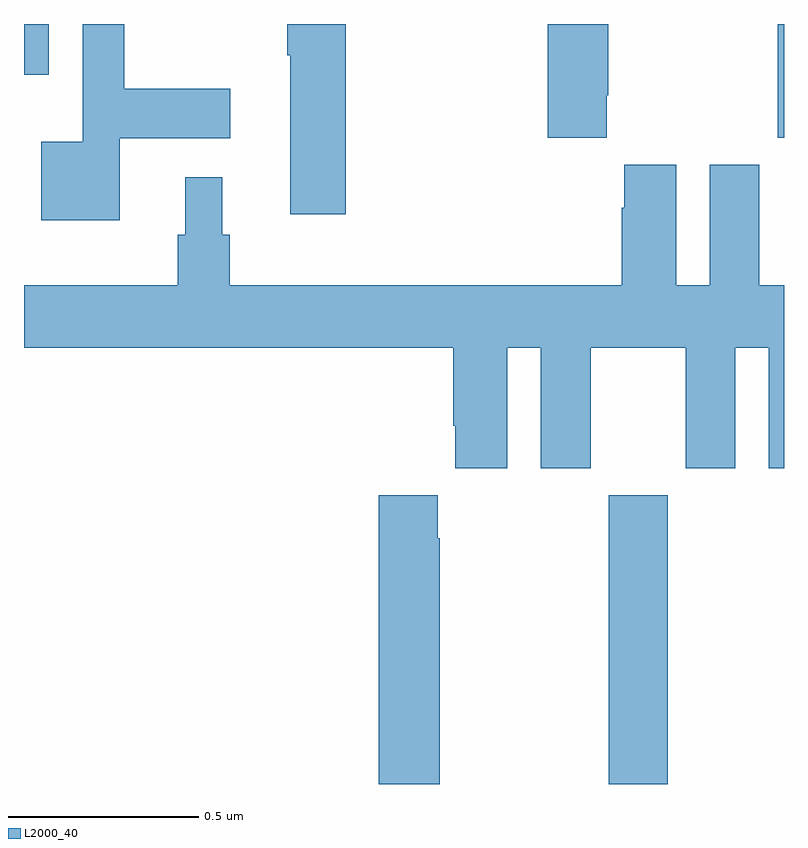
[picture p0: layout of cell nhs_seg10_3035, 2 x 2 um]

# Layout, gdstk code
import gdstk
lib = gdstk.Library(unit=1e-6, precision=1e-09)
def R(c, l, rs):  # rectangles x0, y0, x1, y1
    for r in rs: c.add(gdstk.rectangle(r[:2], r[2:], *l))
def P(c, l, *ps):  # polygons
    for p in ps: c.add(gdstk.Polygon(p, *l))
L2000_40 = (2000, 40)

nhs_seg10_3035 = lib.new_cell('nhs_seg10_3035')
R(nhs_seg10_3035, L2000_40, [(149.539,1300.5,149.694,1301.26), (149.983,1302.201,150,1302.5), (148,1302.366,148.065,1302.5)])
P(nhs_seg10_3035, L2000_40, [(149.533,1302.313),(149.538,1302.313),(149.538,1302.5),(149.378,1302.5),(149.378,1302.201),(149.533,1302.201)],
  [(148.252,1302.2),(148.543,1302.2),(148.543,1302.33),(148.264,1302.33),(148.264,1302.5),(148.155,1302.5),(148.155,1302.19),(148.046,1302.19),(148.046,1301.984),(148.252,1301.984)],
  [(148.847,1302.5),(148.693,1302.5),(148.693,1302.418),(148.7,1302.418),(148.7,1302),(148.847,1302)],
  [(148.541,1301.946),(148.522,1301.946),(148.522,1302.097),(148.424,1302.097),(148.424,1301.946),(148.405,1301.946),(148.405,1301.812),(148,1301.812),(148,1301.648),(149.129,1301.648),(149.129,1301.443),(149.135,1301.443),(149.135,1301.331),(149.272,1301.331),(149.272,1301.648),(149.36,1301.648),(149.36,1301.331),(149.491,1301.331),(149.491,1301.648),(149.741,1301.648),(149.741,1301.331),(149.872,1301.331),(149.872,1301.648),(149.96,1301.648),(149.96,1301.331),(150,1301.331),(150,1301.812),(149.935,1301.812),(149.935,1302.13),(149.804,1302.13),(149.804,1301.812),(149.716,1301.812),(149.716,1302.13),(149.579,1302.13),(149.579,1302.017),(149.573,1302.017),(149.573,1301.812),(148.541,1301.812)],
  [(149.094,1301.147),(149.089,1301.147),(149.089,1301.26),(148.934,1301.26),(148.934,1300.5),(149.094,1300.5)])

lib.write_gds('nhs_seg10_3035.gds')
